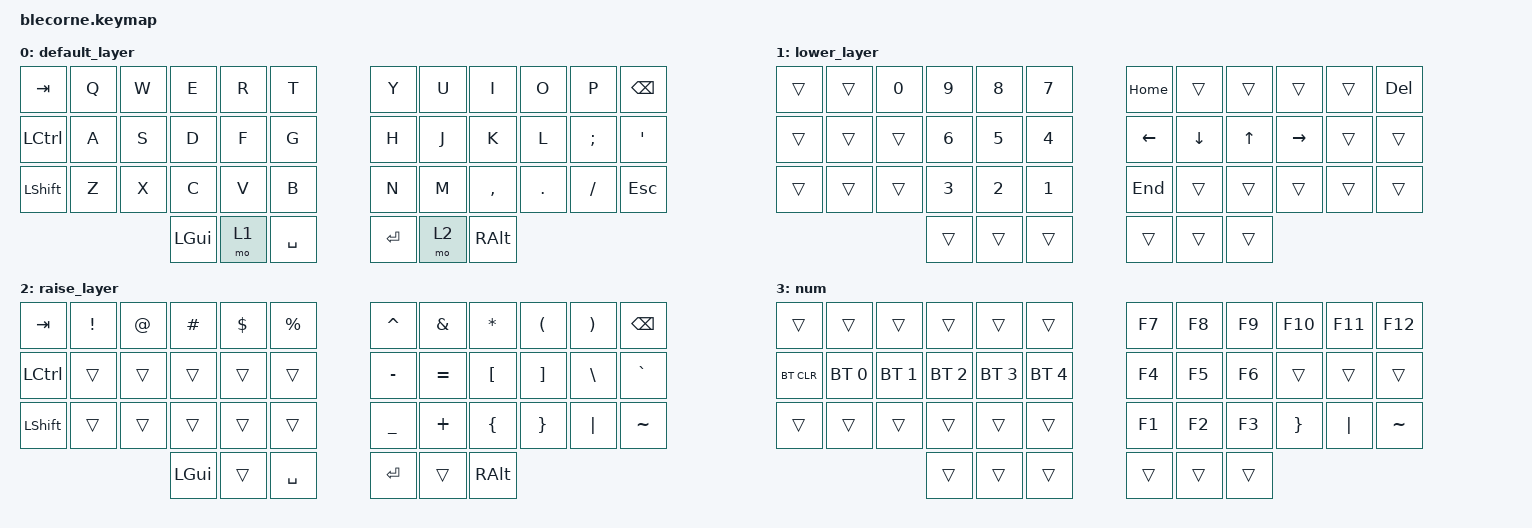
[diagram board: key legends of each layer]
/*
 * Copyright (c) 2020 The ZMK Contributors
 * SPDX-License-Identifier: MIT
 */

#include <behaviors.dtsi>
#include <dt-bindings/zmk/keys.h>
#include <dt-bindings/zmk/bt.h>

/ {
    chosen {
        zmk,physical-layout = &foostan_corne_6col_layout;
        // zmk,physical-layout = &foostan_corne_5col_layout;
    };
};
/ {
  conditional_layers {
      compatible = "zmk,conditional-layers";
  
      num {
          if-layers = <1 2>;
          then-layer = <3>;
      };
  };
};

/ {
    keymap {
        compatible = "zmk,keymap";

        default_layer {
            bindings = <
                &kp TAB   &kp Q &kp W &kp E &kp R &kp T   &kp Y &kp U  &kp I     &kp O   &kp P    &kp BSPC
                &kp LCTRL &kp A &kp S &kp D &kp F &kp G   &kp H &kp J  &kp K     &kp L   &kp SEMI &kp SQT
                &kp LSHFT &kp Z &kp X &kp C &kp V &kp B   &kp N &kp M  &kp COMMA &kp DOT &kp FSLH &kp ESC
                              &kp LGUI &mo 1 &kp SPACE   &kp RET &mo 2 &kp RALT

            >;
        };
        lower_layer {
            bindings = <
                &trans    &trans       &kp N0       &kp N9       &kp N8       &kp N7         &kp HOME   &trans   &trans &trans    &trans &kp DEL
                &trans &trans &trans &kp N6 &kp N5 &kp N4   &kp LEFT &kp DOWN &kp UP &kp RIGHT &trans &trans
                &trans  &trans       &trans       &kp N3       &kp N2       &kp N1         &kp END   &trans   &trans &trans    &trans &trans
                                                &trans     &trans       &trans      &trans  &trans   &trans
            >;
        };

        raise_layer {
            bindings = <
                &kp  TAB  &kp EXCL &kp AT &kp HASH &kp DLLR &kp PRCNT   &kp CARET &kp AMPS  &kp ASTRK &kp LPAR &kp RPAR &kp BSPC
                &kp LCTRL &trans   &trans &trans   &trans   &trans      &kp MINUS &kp EQUAL &kp LBKT  &kp RBKT &kp BSLH &kp GRAVE
                &kp LSHFT &trans   &trans &trans   &trans   &trans      &kp UNDER &kp PLUS  &kp LBRC  &kp RBRC &kp PIPE &kp TILDE
                                         &kp LGUI &trans   &kp SPACE   &kp RET   &trans    &kp RALT
            >;
	};
        num {
            bindings = <
                &trans    &trans       &trans       &trans       &trans       &trans  &kp F7 &kp F8  &kp F9 &kp F10 &kp F11 &kp F12
                &bt BT_CLR &bt BT_SEL 0 &bt BT_SEL 1 &bt BT_SEL 2 &bt BT_SEL 3 &bt BT_SEL 4      &kp F4 &kp F5 &kp F6  &trans &trans &trans
                &trans &trans  &trans &trans   &trans   &trans      &kp F1 &kp F2  &kp F3  &kp RBRC &kp PIPE &kp TILDE
                                         &trans &trans   &trans   &trans   &trans    &trans
            >;
        };
    };
};
